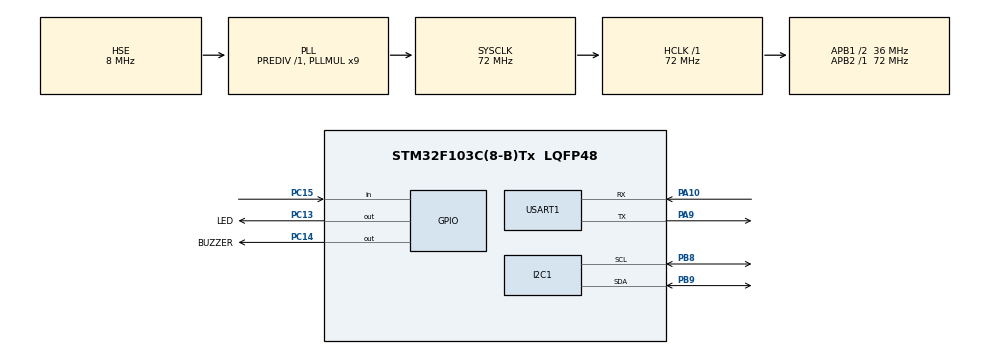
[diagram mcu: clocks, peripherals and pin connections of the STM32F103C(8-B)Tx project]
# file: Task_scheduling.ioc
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I2C1.I2C_Mode=I2C_Fast
Mcu.Family=STM32F1
Mcu.Name=STM32F103C(8-B)Tx
Mcu.Package=LQFP48
NVIC.PriorityGroup=NVIC_PRIORITYGROUP_4
NVIC.TIM4_IRQn=true\:1\:0\:true\:false\:true\:true\:true\:true
NVIC.USART1_IRQn=true\:2\:0\:true\:false\:true\:true\:true\:true
PA10.Mode=Asynchronous
PA10.Signal=USART1_RX
PA13.Mode=Serial_Wire
PA13.Signal=SYS_JTMS-SWDIO
PA14.Mode=Serial_Wire
PA14.Signal=SYS_JTCK-SWCLK
PA9.Mode=Asynchronous
PA9.Signal=USART1_TX
PB8.Mode=I2C
PB8.Signal=I2C1_SCL
PB9.Mode=I2C
PB9.Signal=I2C1_SDA
PC13-TAMPER-RTC.GPIO_Label=LED
PC13-TAMPER-RTC.GPIO_PuPd=GPIO_PULLUP
PC13-TAMPER-RTC.GPIO_Speed=GPIO_SPEED_FREQ_HIGH
PC13-TAMPER-RTC.PinState=GPIO_PIN_SET
PC13-TAMPER-RTC.Signal=GPIO_Output
PC14-OSC32_IN.GPIO_Label=BUZZER
PC14-OSC32_IN.GPIO_PuPd=GPIO_PULLUP
PC14-OSC32_IN.GPIO_Speed=GPIO_SPEED_FREQ_HIGH
PC14-OSC32_IN.PinState=GPIO_PIN_SET
PC14-OSC32_IN.Signal=GPIO_Output
PC15-OSC32_OUT.GPIO_PuPd=GPIO_PULLUP
PC15-OSC32_OUT.Signal=GPIO_Input
PD0-OSC_IN.Mode=HSE-External-Oscillator
PD0-OSC_IN.Signal=RCC_OSC_IN
PD1-OSC_OUT.Mode=HSE-External-Oscillator
PD1-OSC_OUT.Signal=RCC_OSC_OUT
ProjectManager.HeapSize=0x200
ProjectManager.StackSize=0x400
ProjectManager.TargetToolchain=MDK-ARM V5.32
RCC.AHBFreq_Value=72000000
RCC.APB1CLKDivider=RCC_HCLK_DIV2
RCC.APB1Freq_Value=36000000
RCC.APB1TimFreq_Value=72000000
RCC.APB2Freq_Value=72000000
RCC.APB2TimFreq_Value=72000000
RCC.HCLKFreq_Value=72000000
RCC.PLLMUL=RCC_PLL_MUL9
RCC.PLLSourceVirtual=RCC_PLLSOURCE_HSE
RCC.SYSCLKFreq_VALUE=72000000
RCC.SYSCLKSource=RCC_SYSCLKSOURCE_PLLCLK
RCC.USBFreq_Value=72000000
TIM4.AutoReloadPreload=TIM_AUTORELOAD_PRELOAD_ENABLE
TIM4.Period=999
TIM4.Prescaler=71
USART1.VirtualMode=VM_ASYNC
VP_TIM4_VS_ClockSourceINT.Mode=Internal
board=custom

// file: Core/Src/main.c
/* USER CODE BEGIN Header */
/**
  ******************************************************************************
  * @file           : main.c
  * @brief          : Main program body
  ******************************************************************************
  * @attention
  *
  * Copyright (c) 2025 STMicroelectronics.
  * All rights reserved.
  *
  * This software is licensed under terms that can be found in the LICENSE file
  * in the root directory of this software component.
  * If no LICENSE file comes with this software, it is provided AS-IS.
  *
  ******************************************************************************
  */
/* USER CODE END Header */
#include "main.h"
#include "i2c.h"
#include "tim.h"
#include "usart.h"
#include "gpio.h"

/* USER CODE BEGIN Includes */
#include "include.h"

/* USER CODE END Includes */

void SystemClock_Config(void);

int main(void)
{

  /* MCU Configuration--------------------------------------------------------*/

  /* Reset of all peripherals, Initializes the Flash interface and the Systick. */
  HAL_Init();

  /* Configure the system clock */
  SystemClock_Config();

  /* Initialize all configured peripherals */
  MX_GPIO_Init();
  MX_TIM4_Init();
  MX_USART1_UART_Init();
  MX_I2C1_Init();
  /* USER CODE BEGIN 2 */
  Key_Init();//按钮结构体初始化
  OLED_Init();//oled初始化
  OLED_Clear();//清屏
  Task_Init(&menu,0,1000,C,LED_Pin);//创建任务队列1，任务周期1000ms，配置为c13引脚
  Task_Init(&menu,1,500,C,BUZZER_Pin);//创建任务队列2，任务周期500ms，配置为c14引脚

  Delay_Init(&list,0,4000);//延迟触发列表1，延迟4000ms触发
  Delay_Init(&list,1,2000);//延迟触发列表2，延迟2000ms触发
  Delay_Init(&list,2,100);//延迟触发列表3，100ms触发，用于日志发送
  Delay_Init(&list,3,50);//延迟触发列表4，0ms触发，用于日志接收，信息处理

  HAL_TIM_Base_Start_IT(&htim4);//定时中断使能

  Delay_Start(&list,0);//延迟列表0开始
  Delay_Start(&list,1);//延迟列表1开始
  Delay_Start(&list,2);//延迟列表2开始
  Delay_Start(&list,3);//延迟列表3开始
  /* USER CODE END 2 */

  /* Infinite loop */
  /* USER CODE BEGIN WHILE */
  while (1)
  {
	  Key_Handle();//按钮功能处理
	  Delay_Handle(&list);//延迟功能处理
	  Schedule_Handle(&menu);//任务调度功能处理
	  if(start_flag==1)//延迟开始标志位判断
	  {
		  Delay_Start(&list,1);
		  Delay_Start(&list,0);
		  start_flag=0;//清楚标志位
	  }
    /* USER CODE END WHILE */

  }
}

void SystemClock_Config(void)
{
  RCC_OscInitTypeDef RCC_OscInitStruct = {0};
  RCC_ClkInitTypeDef RCC_ClkInitStruct = {0};

  /** Initializes the RCC Oscillators according to the specified parameters
  * in the RCC_OscInitTypeDef structure.
  */
  RCC_OscInitStruct.OscillatorType = RCC_OSCILLATORTYPE_HSE;
  RCC_OscInitStruct.HSEState = RCC_HSE_ON;
  RCC_OscInitStruct.HSEPredivValue = RCC_HSE_PREDIV_DIV1;
  RCC_OscInitStruct.HSIState = RCC_HSI_ON;
  RCC_OscInitStruct.PLL.PLLState = RCC_PLL_ON;
  RCC_OscInitStruct.PLL.PLLSource = RCC_PLLSOURCE_HSE;
  RCC_OscInitStruct.PLL.PLLMUL = RCC_PLL_MUL9;
  if (HAL_RCC_OscConfig(&RCC_OscInitStruct) != HAL_OK)
  {
    Error_Handler();
  }

  /** Initializes the CPU, AHB and APB buses clocks
  */
  RCC_ClkInitStruct.ClockType = RCC_CLOCKTYPE_HCLK|RCC_CLOCKTYPE_SYSCLK
                              |RCC_CLOCKTYPE_PCLK1|RCC_CLOCKTYPE_PCLK2;
  RCC_ClkInitStruct.SYSCLKSource = RCC_SYSCLKSOURCE_PLLCLK;
  RCC_ClkInitStruct.AHBCLKDivider = RCC_SYSCLK_DIV1;
  RCC_ClkInitStruct.APB1CLKDivider = RCC_HCLK_DIV2;
  RCC_ClkInitStruct.APB2CLKDivider = RCC_HCLK_DIV1;

  if (HAL_RCC_ClockConfig(&RCC_ClkInitStruct, FLASH_LATENCY_2) != HAL_OK)
  {
    Error_Handler();
  }
}

void Error_Handler(void)
{
  __disable_irq();
  while (1)
  {
  }
}
